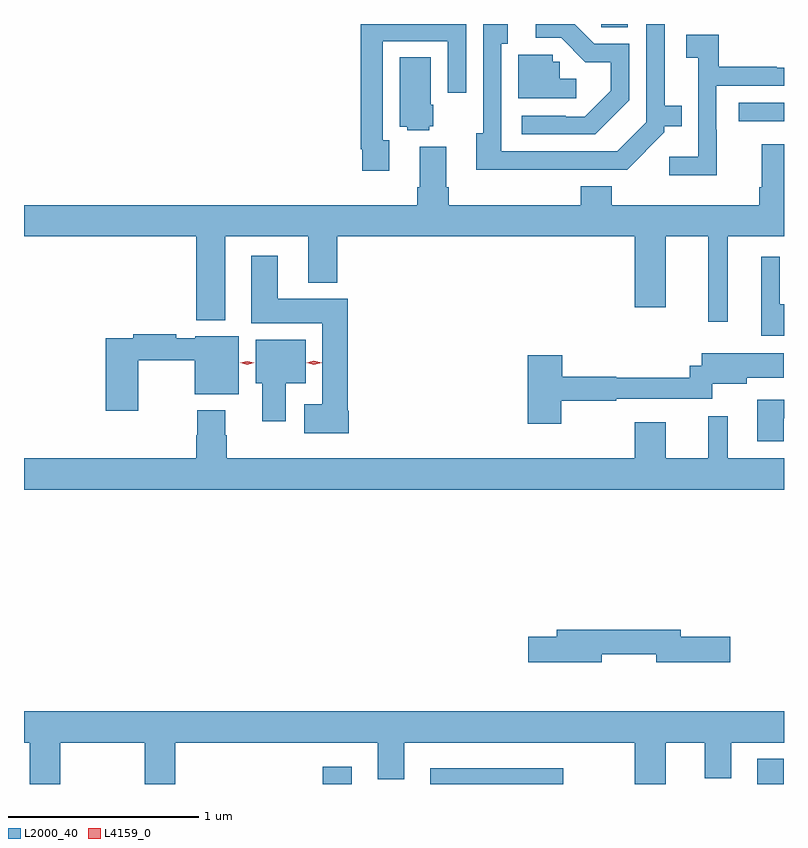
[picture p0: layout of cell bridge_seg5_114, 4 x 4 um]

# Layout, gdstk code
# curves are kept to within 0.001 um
import gdstk
lib = gdstk.Library(unit=1e-6, precision=1e-09)
def R(c, l, rs):  # rectangles x0, y0, x1, y1
    for r in rs: c.add(gdstk.rectangle(r[:2], r[2:], *l))
def P(c, l, *ps):  # polygons
    for p in ps: c.add(gdstk.Polygon(p, *l))
L2000_40 = (2000, 40)
L4159_0 = (4159, 0)

bridge_seg5_114 = lib.new_cell('bridge_seg5_114')
R(bridge_seg5_114, L2000_40, [(439.091,892.506,439.243,892.597), (439.655,892.506,440.356,892.588), (441.377,892.506,441.517,892.639), (441.279,895.995,441.518,896.091), (440.557,896.488,440.695,896.506)])
P(bridge_seg5_114, L2000_40, [(440.703,896.105),(440.703,896.403),(440.52,896.403),(440.417,896.506),(440.211,896.506),(440.211,896.433),(440.346,896.433),(440.473,896.306),(440.606,896.306),(440.606,896.156),(440.469,896.019),(440.369,896.019),(440.369,896.022),(440.139,896.022),(440.139,895.926),(440.524,895.926)],
  [(439.441,895.895),(439.407,895.895),(439.407,896.415),(439.749,896.415),(439.749,896.145),(439.845,896.145),(439.845,896.506),(439.291,896.506),(439.291,895.846),(439.299,895.846),(439.299,895.734),(439.441,895.734)],
  [(440.363,895.74),(440.694,895.74),(440.889,895.935),(440.889,895.967),(440.981,895.967),(440.981,896.077),(440.89,896.077),(440.89,896.506),(440.793,896.506),(440.793,895.989),(440.64,895.836),(440.031,895.836),(440.031,896.402),(440.065,896.402),(440.065,896.506),(439.935,896.506),(439.935,895.93),(439.898,895.93),(439.898,895.739)],
  [(441.165,895.949),(441.162,895.949),(441.162,896.181),(441.518,896.181),(441.518,896.277),(441.479,896.277),(441.479,896.28),(441.175,896.28),(441.175,896.45),(441.003,896.45),(441.003,896.329),(441.066,896.329),(441.066,895.807),(440.913,895.807),(440.913,895.709),(441.165,895.709)],
  [(440.425,896.218),(440.337,896.218),(440.337,896.307),(440.301,896.307),(440.301,896.343),(440.12,896.343),(440.12,896.115),(440.425,896.115)],
  [(439.65,895.968),(439.672,895.968),(439.672,896.082),(439.66,896.082),(439.66,896.33),(439.496,896.33),(439.496,895.964),(439.536,895.964),(439.536,895.946),(439.65,895.946)],
  [(441.223,895.388),(441.518,895.388),(441.518,895.873),(441.401,895.873),(441.401,895.648),(441.389,895.648),(441.389,895.552),(440.612,895.552),(440.612,895.651),(440.447,895.651),(440.447,895.552),(439.754,895.552),(439.754,895.648),(439.741,895.648),(439.741,895.861),(439.601,895.861),(439.601,895.648),(439.589,895.648),(439.589,895.552),(437.518,895.552),(437.518,895.388),(438.425,895.388),(438.425,894.947),(438.577,894.947),(438.577,895.388),(439.013,895.388),(439.013,895.145),(439.166,895.145),(439.166,895.388),(440.732,895.388),(440.732,895.014),(440.896,895.014),(440.896,895.388),(441.119,895.388),(441.119,894.939),(441.223,894.939)],
  [(439.228,894.471),(439.223,894.471),(439.223,895.06),(438.853,895.06),(438.853,895.285),(438.713,895.285),(438.713,894.932),(439.088,894.932),(439.088,894.505),(438.993,894.505),(438.993,894.353),(439.228,894.353)],
  [(441.518,895.03),(441.496,895.03),(441.496,895.282),(441.398,895.282),(441.398,894.866),(441.518,894.866)],
  [(438.118,894.736),(438.416,894.736),(438.416,894.557),(438.649,894.557),(438.649,894.862),(438.42,894.862),(438.42,894.852),(438.32,894.852),(438.32,894.872),(438.094,894.872),(438.094,894.852),(437.948,894.852),(437.948,894.471),(438.118,894.471)],
  [(438.895,894.614),(439,894.614),(439,894.844),(438.737,894.844),(438.737,894.614),(438.773,894.614),(438.773,894.414),(438.895,894.414)],
  [(440.346,894.522),(440.636,894.522),(440.636,894.534),(441.141,894.534),(441.141,894.612),(441.322,894.612),(441.322,894.643),(441.517,894.643),(441.517,894.772),(441.086,894.772),(441.086,894.708),(441.022,894.708),(441.022,894.643),(440.634,894.643),(440.634,894.65),(440.351,894.65),(440.351,894.763),(440.168,894.763),(440.168,894.402),(440.346,894.402)],
  [(441.517,894.431),(441.518,894.431),(441.518,894.529),(441.377,894.529),(441.377,894.309),(441.517,894.309)],
  [(441.518,894.22),(441.223,894.22),(441.223,894.442),(441.119,894.442),(441.119,894.22),(440.896,894.22),(440.896,894.409),(440.732,894.409),(440.732,894.22),(438.585,894.22),(438.585,894.341),(438.577,894.341),(438.577,894.472),(438.43,894.472),(438.43,894.341),(438.425,894.341),(438.425,894.22),(437.518,894.22),(437.518,894.056),(441.518,894.056)],
  [(440.56,893.19),(440.846,893.19),(440.846,893.147),(441.235,893.147),(441.235,893.282),(440.974,893.282),(440.974,893.318),(440.321,893.318),(440.321,893.282),(440.172,893.282),(440.172,893.147),(440.56,893.147)],
  [(437.709,892.724),(438.154,892.724),(438.154,892.506),(438.314,892.506),(438.314,892.724),(439.379,892.724),(439.379,892.53),(439.519,892.53),(439.519,892.724),(440.732,892.724),(440.732,892.506),(440.896,892.506),(440.896,892.724),(441.101,892.724),(441.101,892.535),(441.241,892.535),(441.241,892.724),(441.518,892.724),(441.518,892.888),(437.518,892.888),(437.518,892.724),(437.549,892.724),(437.549,892.506),(437.709,892.506)])
P(bridge_seg5_114, L4159_0, [(439.044,894.713),(439.005,894.723),(439.004,894.723),(439.005,894.723),(439.044,894.733),(439.084,894.722),(439.084,894.722),(439.084,894.722)],
  [(438.693,894.712),(438.655,894.722),(438.655,894.722),(438.655,894.722),(438.693,894.732),(438.731,894.722),(438.731,894.722),(438.731,894.722)])

lib.write_gds('bridge_seg5_114.gds')
